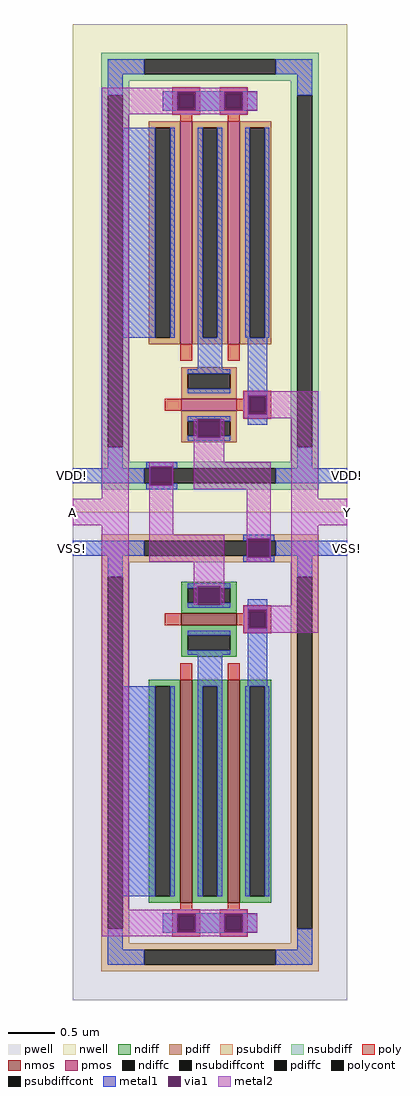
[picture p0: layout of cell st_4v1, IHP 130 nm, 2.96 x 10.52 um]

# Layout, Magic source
magic
tech ihp-sg13g2
magscale 1 2
<< nwell >>
rect -92 -282 500 770
<< pwell >>
rect -92 -1334 500 -282
<< nmos >>
rect 142 -526 262 -500
rect 140 -1124 166 -644
rect 242 -1124 268 -644
<< pmos >>
rect 140 80 166 560
rect 242 80 268 560
rect 142 -64 262 -38
<< ndiff >>
rect 142 -446 262 -432
rect 142 -478 156 -446
rect 248 -478 262 -446
rect 142 -500 262 -478
rect 142 -548 262 -526
rect 142 -580 156 -548
rect 248 -580 262 -548
rect 142 -594 262 -580
rect 72 -658 140 -644
rect 72 -1110 86 -658
rect 118 -1110 140 -658
rect 72 -1124 140 -1110
rect 166 -658 242 -644
rect 166 -1110 188 -658
rect 220 -1110 242 -658
rect 166 -1124 242 -1110
rect 268 -658 336 -644
rect 268 -1110 290 -658
rect 322 -1110 336 -658
rect 268 -1124 336 -1110
<< pdiff >>
rect 72 546 140 560
rect 72 94 86 546
rect 118 94 140 546
rect 72 80 140 94
rect 166 546 242 560
rect 166 94 188 546
rect 220 94 242 546
rect 166 80 242 94
rect 268 546 336 560
rect 268 94 290 546
rect 322 94 336 546
rect 268 80 336 94
rect 142 16 262 30
rect 142 -16 156 16
rect 248 -16 262 16
rect 142 -38 262 -16
rect 142 -86 262 -64
rect 142 -118 156 -86
rect 248 -118 262 -86
rect 142 -132 262 -118
<< ndiffc >>
rect 156 -478 248 -446
rect 156 -580 248 -548
rect 86 -1110 118 -658
rect 188 -1110 220 -658
rect 290 -1110 322 -658
<< pdiffc >>
rect 86 94 118 546
rect 188 94 220 546
rect 290 94 322 546
rect 156 -16 248 16
rect 156 -118 248 -86
<< psubdiff >>
rect -30 -344 438 -330
rect -30 -376 62 -344
rect 346 -376 438 -344
rect -30 -390 438 -376
rect -30 -422 30 -390
rect -30 -1180 -16 -422
rect 16 -1180 30 -422
rect 378 -422 438 -390
rect -30 -1212 30 -1180
rect 378 -1180 392 -422
rect 424 -1180 438 -422
rect 378 -1212 438 -1180
rect -30 -1226 438 -1212
rect -30 -1258 62 -1226
rect 346 -1258 438 -1226
rect -30 -1272 438 -1258
<< nsubdiff >>
rect -30 694 438 708
rect -30 662 62 694
rect 346 662 438 694
rect -30 648 438 662
rect -30 616 30 648
rect -30 -142 -16 616
rect 16 -142 30 616
rect 378 616 438 648
rect -30 -174 30 -142
rect 378 -142 392 616
rect 424 -142 438 616
rect 378 -174 438 -142
rect -30 -188 438 -174
rect -30 -220 62 -188
rect 346 -220 438 -188
rect -30 -234 438 -220
<< psubdiffcont >>
rect 62 -376 346 -344
rect -16 -1180 16 -422
rect 392 -1180 424 -422
rect 62 -1258 346 -1226
<< nsubdiffcont >>
rect 62 662 346 694
rect -16 -142 16 616
rect 392 -142 424 616
rect 62 -220 346 -188
<< poly >>
rect 123 620 183 634
rect 123 588 137 620
rect 169 588 183 620
rect 123 574 183 588
rect 225 620 285 634
rect 225 588 239 620
rect 271 588 285 620
rect 225 574 285 588
rect 140 560 166 574
rect 242 560 268 574
rect 140 44 166 80
rect 242 44 268 80
rect 276 -35 336 -21
rect 276 -38 290 -35
rect 106 -64 142 -38
rect 262 -64 290 -38
rect 276 -67 290 -64
rect 322 -67 336 -35
rect 276 -81 336 -67
rect 276 -497 336 -483
rect 276 -500 290 -497
rect 106 -526 142 -500
rect 262 -526 290 -500
rect 276 -529 290 -526
rect 322 -529 336 -497
rect 276 -543 336 -529
rect 140 -644 166 -608
rect 242 -644 268 -608
rect 140 -1138 166 -1124
rect 242 -1138 268 -1124
rect 123 -1152 183 -1138
rect 123 -1184 137 -1152
rect 169 -1184 183 -1152
rect 123 -1198 183 -1184
rect 225 -1152 285 -1138
rect 225 -1184 239 -1152
rect 271 -1184 285 -1152
rect 225 -1198 285 -1184
<< polycont >>
rect 137 588 169 620
rect 239 588 271 620
rect 290 -67 322 -35
rect 290 -529 322 -497
rect 137 -1184 169 -1152
rect 239 -1184 271 -1152
<< metal1 >>
rect -16 662 62 694
rect 346 662 424 694
rect -16 616 16 662
rect 102 624 306 625
rect 102 584 133 624
rect 173 584 235 624
rect 275 584 306 624
rect 102 583 306 584
rect 392 616 424 662
rect 16 94 86 546
rect 118 94 128 546
rect 178 94 188 546
rect 220 94 230 546
rect 280 94 290 546
rect 322 94 332 546
rect 178 26 230 94
rect 156 16 248 26
rect 156 -26 248 -16
rect 285 -31 327 94
rect 285 -71 286 -31
rect 326 -71 327 -31
rect 156 -82 248 -76
rect 156 -86 178 -82
rect 226 -86 248 -82
rect 285 -94 327 -71
rect 156 -122 178 -118
rect 226 -122 248 -118
rect 156 -128 248 -122
rect -16 -188 16 -142
rect 67 -184 133 -175
rect 67 -188 75 -184
rect 123 -188 133 -184
rect 392 -188 424 -142
rect -92 -220 62 -188
rect 346 -220 500 -188
rect 67 -224 75 -220
rect 123 -224 133 -220
rect 67 -233 133 -224
rect 276 -340 342 -331
rect 276 -344 285 -340
rect 333 -344 342 -340
rect -92 -376 62 -344
rect 346 -376 500 -344
rect -16 -422 16 -376
rect 276 -380 285 -376
rect 333 -380 342 -376
rect 276 -389 342 -380
rect 392 -422 424 -376
rect 156 -442 248 -436
rect 156 -446 178 -442
rect 226 -446 248 -442
rect 156 -482 178 -478
rect 226 -482 248 -478
rect 156 -488 248 -482
rect 285 -493 327 -470
rect 285 -533 286 -493
rect 326 -533 327 -493
rect 156 -548 248 -538
rect 156 -590 248 -580
rect 178 -658 230 -590
rect 285 -658 327 -533
rect 16 -1110 86 -658
rect 118 -1110 128 -658
rect 178 -1110 188 -658
rect 220 -1110 230 -658
rect 280 -1110 290 -658
rect 322 -1110 332 -658
rect -16 -1226 16 -1180
rect 102 -1148 306 -1147
rect 102 -1188 133 -1148
rect 173 -1188 235 -1148
rect 275 -1188 306 -1148
rect 102 -1189 306 -1188
rect 392 -1226 424 -1180
rect -16 -1258 62 -1226
rect 346 -1258 424 -1226
<< via1 >>
rect 133 620 173 624
rect 133 588 137 620
rect 137 588 169 620
rect 169 588 173 620
rect 133 584 173 588
rect 235 620 275 624
rect 235 588 239 620
rect 239 588 271 620
rect 271 588 275 620
rect 235 584 275 588
rect 286 -35 326 -31
rect 286 -67 290 -35
rect 290 -67 322 -35
rect 322 -67 326 -35
rect 286 -71 326 -67
rect 178 -86 226 -82
rect 178 -118 226 -86
rect 178 -122 226 -118
rect 75 -188 123 -184
rect 75 -220 123 -188
rect 75 -224 123 -220
rect 285 -344 333 -340
rect 285 -376 333 -344
rect 285 -380 333 -376
rect 178 -446 226 -442
rect 178 -478 226 -446
rect 178 -482 226 -478
rect 286 -497 326 -493
rect 286 -529 290 -497
rect 290 -529 322 -497
rect 322 -529 326 -497
rect 286 -533 326 -529
rect 133 -1152 173 -1148
rect 133 -1184 137 -1152
rect 137 -1184 169 -1152
rect 169 -1184 173 -1152
rect 133 -1188 173 -1184
rect 235 -1152 275 -1148
rect 235 -1184 239 -1152
rect 239 -1184 271 -1152
rect 271 -1184 275 -1152
rect 235 -1188 275 -1184
<< metal2 >>
rect -29 624 284 633
rect -29 584 133 624
rect 173 584 235 624
rect 275 584 306 624
rect -29 575 284 584
rect -29 -253 29 575
rect 277 -31 437 -22
rect 277 -71 286 -31
rect 326 -71 437 -31
rect 277 -80 437 -71
rect 169 -122 178 -82
rect 226 -122 235 -82
rect 169 -175 235 -122
rect -92 -311 29 -253
rect -29 -1139 29 -311
rect 73 -184 125 -175
rect 73 -224 75 -184
rect 123 -224 125 -184
rect 73 -331 125 -224
rect 169 -233 335 -175
rect 73 -389 235 -331
rect 283 -340 335 -233
rect 283 -380 285 -340
rect 333 -380 335 -340
rect 283 -389 335 -380
rect 379 -253 437 -80
rect 379 -311 500 -253
rect 169 -442 235 -389
rect 169 -482 178 -442
rect 226 -482 235 -442
rect 379 -484 437 -311
rect 277 -493 437 -484
rect 277 -533 286 -493
rect 326 -533 437 -493
rect 277 -542 437 -533
rect -29 -1148 284 -1139
rect -29 -1188 133 -1148
rect 173 -1188 235 -1148
rect 275 -1188 306 -1148
rect -29 -1197 284 -1188
<< labels >>
rlabel metal2 500 -282 500 -282 3 Y
rlabel metal2 -92 -282 -92 -282 7 A
rlabel metal1 -92 -204 -92 -204 7 VDD!
rlabel metal1 500 -204 500 -204 3 VDD!
rlabel metal1 -92 -360 -92 -360 7 VSS!
rlabel metal1 500 -360 500 -360 3 VSS!
<< end >>
